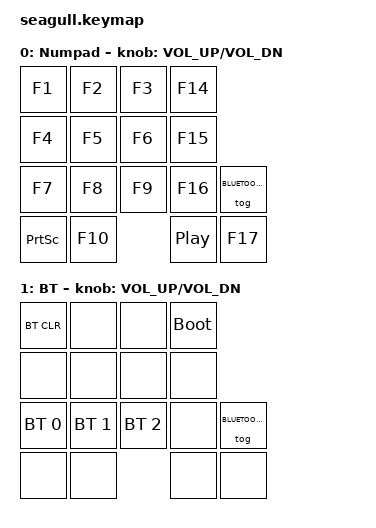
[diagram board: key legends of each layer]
#include <behaviors.dtsi>
#include <dt-bindings/zmk/keys.h>
#include <dt-bindings/zmk/bt.h>
    
#define NUMPAD 0
#define BLUETOOTH 1 

/ {
    keymap {

        compatible = "zmk,keymap";
      
    layer_numpad {
        display-name = "Numpad"; 

    // +---------------------------+                      
    // |   7  |   8  |   9  |   *  |                      
    // +------+------+------+------+
    // |   4  |   5  |   6  |   /  |                      
    // +------+------+------+------+-------+     
    // |   1  |   2  |   3  |   *  | L-BT  |                     
    // +------+------+------+------+-------+    
    // |   0  |   .  |  +   |   =  |                          
    // +------+------+------+------+  
                                        

    bindings = <   

        &kp F1       &kp F2        &kp F3        &kp F14
        &kp F4       &kp F5        &kp F6        &kp F15
        &kp F7       &kp F8        &kp F9        &kp F16    &tog BLUETOOTH 
        &kp PSCRN    &kp F10       &kp C_PLAY_PAUSE     &kp F17         
        >;

        sensor-bindings = <&inc_dec_kp C_VOL_UP C_VOL_DN>;
    };

    layer_bluetooth {     
        display-name = "BT"; 
  
    // +---------------------------+                      
    // |CLEAR |      |      |BTLDR |                      
    // +------+------+------+------+
    // |      |      |      |      |                      
    // +------+------+------+------+-------+     
    // | PF1  | PF2  |  PF3 |      | L-BT  |                      
    // +------+------+------+------+-------+    
    // |      |      |      |      |                          
    // +------+------+------+------+     
                                       

    bindings = <   

        &bt BT_CLR      &none         &none           &bootloader
        &none           &none         &none           &none  
        &bt BT_SEL 0    &bt BT_SEL 1  &bt BT_SEL 2    &none        &tog BLUETOOTH                         
        &none           &none         &none           &none            
        >;

        sensor-bindings = <&inc_dec_kp C_VOL_UP C_VOL_DN>;
    };
};
};
